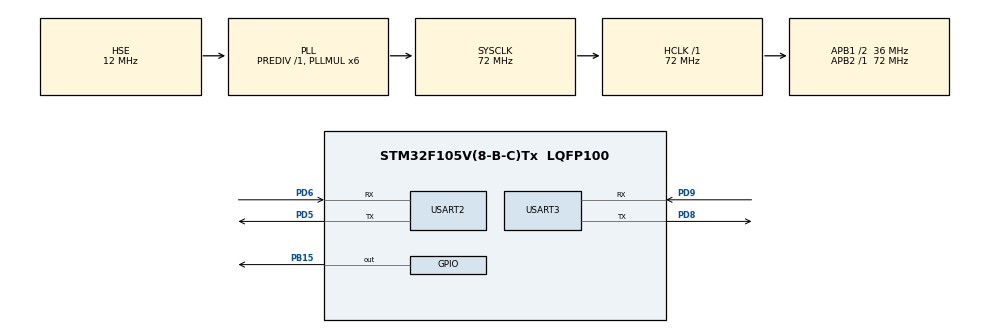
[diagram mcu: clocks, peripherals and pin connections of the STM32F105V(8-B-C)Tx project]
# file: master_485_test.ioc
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Mcu.Family=STM32F1
Mcu.Name=STM32F105V(8-B-C)Tx
Mcu.Package=LQFP100
NVIC.PriorityGroup=NVIC_PRIORITYGROUP_4
NVIC.USART2_IRQn=true\:0\:0\:false\:false\:true\:true
NVIC.USART3_IRQn=true\:0\:0\:false\:false\:true\:true
OSC_IN.Mode=HSE-External-Oscillator
OSC_IN.Signal=RCC_OSC_IN
OSC_OUT.Mode=HSE-External-Oscillator
OSC_OUT.Signal=RCC_OSC_OUT
PA13.Mode=Serial_Wire
PA13.Signal=SYS_JTMS-SWDIO
PA14.Mode=Serial_Wire
PA14.Signal=SYS_JTCK-SWCLK
PB15.Signal=GPIO_Output
PC14-OSC32_IN.Mode=LSE-External-Oscillator
PC14-OSC32_IN.Signal=RCC_OSC32_IN
PC15-OSC32_OUT.Mode=LSE-External-Oscillator
PC15-OSC32_OUT.Signal=RCC_OSC32_OUT
PD5.Mode=Asynchronous
PD5.Signal=USART2_TX
PD6.Mode=Asynchronous
PD6.Signal=USART2_RX
PD8.Mode=Asynchronous
PD8.Signal=USART3_TX
PD9.Mode=Asynchronous
PD9.Signal=USART3_RX
ProjectManager.HeapSize=0x200
ProjectManager.StackSize=0x400
ProjectManager.TargetToolchain=MDK-ARM V5
RCC.AHBFreq_Value=72000000
RCC.APB1CLKDivider=RCC_HCLK_DIV2
RCC.APB1Freq_Value=36000000
RCC.APB1TimFreq_Value=72000000
RCC.APB2Freq_Value=72000000
RCC.APB2TimFreq_Value=72000000
RCC.HCLKFreq_Value=72000000
RCC.HSE_VALUE=12000000
RCC.PLLMUL=RCC_PLL_MUL6
RCC.PLLSourceVirtual=RCC_PLLSOURCE_HSE
RCC.SYSCLKFreq_VALUE=72000000
RCC.SYSCLKSource=RCC_SYSCLKSOURCE_PLLCLK
RCC.USBFreq_Value=48000000
USART2.VirtualMode=VM_ASYNC
USART3.VirtualMode=VM_ASYNC
board=custom

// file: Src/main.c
/**
  ******************************************************************************
  * @file           : main.c
  * @brief          : Main program body
  ******************************************************************************
  ** This notice applies to any and all portions of this file
  * that are not between comment pairs USER CODE BEGIN and
  * USER CODE END. Other portions of this file, whether
  * inserted by the user or by software development tools
  * are owned by their respective copyright owners.
  *
  * COPYRIGHT(c) 2019 STMicroelectronics
  *
  * Redistribution and use in source and binary forms, with or without modification,
  * are permitted provided that the following conditions are met:
  *   1. Redistributions of source code must retain the above copyright notice,
  *      this list of conditions and the following disclaimer.
  *   2. Redistributions in binary form must reproduce the above copyright notice,
  *      this list of conditions and the following disclaimer in the documentation
  *      and/or other materials provided with the distribution.
  *   3. Neither the name of STMicroelectronics nor the names of its contributors
  *      may be used to endorse or promote products derived from this software
  *      without specific prior written permission.
  *
  * THIS SOFTWARE IS PROVIDED BY THE COPYRIGHT HOLDERS AND CONTRIBUTORS "AS IS"
  * AND ANY EXPRESS OR IMPLIED WARRANTIES, INCLUDING, BUT NOT LIMITED TO, THE
  * IMPLIED WARRANTIES OF MERCHANTABILITY AND FITNESS FOR A PARTICULAR PURPOSE ARE
  * DISCLAIMED. IN NO EVENT SHALL THE COPYRIGHT HOLDER OR CONTRIBUTORS BE LIABLE
  * FOR ANY DIRECT, INDIRECT, INCIDENTAL, SPECIAL, EXEMPLARY, OR CONSEQUENTIAL
  * DAMAGES (INCLUDING, BUT NOT LIMITED TO, PROCUREMENT OF SUBSTITUTE GOODS OR
  * SERVICES; LOSS OF USE, DATA, OR PROFITS; OR BUSINESS INTERRUPTION) HOWEVER
  * CAUSED AND ON ANY THEORY OF LIABILITY, WHETHER IN CONTRACT, STRICT LIABILITY,
  * OR TORT (INCLUDING NEGLIGENCE OR OTHERWISE) ARISING IN ANY WAY OUT OF THE USE
  * OF THIS SOFTWARE, EVEN IF ADVISED OF THE POSSIBILITY OF SUCH DAMAGE.
  *
  ******************************************************************************
  */
#include "main.h"
#include "stm32f1xx_hal.h"
#include "usart.h"
#include "gpio.h"

/* USER CODE BEGIN PV */
/* Private variables ---------------------------------------------------------*/

/* USER CODE END PV */

void SystemClock_Config(void);

/* USER CODE BEGIN PFP */
/* Private function prototypes -----------------------------------------------*/

/* USER CODE END PFP */

int main(void)
{
  /* USER CODE BEGIN 1 */
	uint8_t len = 0;
	uint8_t i = 0;
	uint32_t tick = 0;
  /* USER CODE END 1 */

  /* MCU Configuration----------------------------------------------------------*/

  /* Reset of all peripherals, Initializes the Flash interface and the Systick. */
  HAL_Init();

  /* Configure the system clock */
  SystemClock_Config();

  /* Initialize all configured peripherals */
  MX_GPIO_Init();
  MX_USART3_UART_Init();
  MX_USART2_UART_Init();
  /* USER CODE BEGIN 2 */

//	printf("Hello\r\n");
	HAL_GPIO_WritePin(GPIOB, GPIO_PIN_15, GPIO_PIN_SET);
	HAL_Delay(50);
	len = 10;
	for(i = 0;i<len;i++)
	{
		printf(" %d",USART_RX_BUF[i]);
	}

	HAL_UART_Transmit(&huart3,(uint8_t*)USART_RX_BUF,len,100);   //发送接收到的数据

	while(__HAL_UART_GET_FLAG(&huart3, UART_FLAG_TC)!=SET);      //等待发送结束
	USART_RX_STA = 0;

	tick = HAL_GetTick();
  /* USER CODE END 2 */

  /* Infinite loop */
  while (1)
  {

  /* USER CODE BEGIN 3 */

		HAL_GPIO_WritePin(GPIOB, GPIO_PIN_15, GPIO_PIN_RESET);
		HAL_Delay(10);

		if(USART_RX_STA&0x8000)
		{
			tick = HAL_GetTick();
			len=USART_RX_STA&0x3fff;            //得到此次接收到的数据长度

			HAL_GPIO_WritePin(GPIOB, GPIO_PIN_15, GPIO_PIN_SET);
		  HAL_Delay(10);
			printf("Recv Data:");

			for(i = 0;i<len;i++)
			{
				printf(" %d",USART_RX_BUF[i]);
			}
			printf("\r\n");

			HAL_UART_Transmit(&huart3,(uint8_t*)USART_RX_BUF,len,100);   //发送接收到的数据

			while(__HAL_UART_GET_FLAG(&huart3, UART_FLAG_TC)!=SET);      //等待发送结束
			USART_RX_STA = 0;
		}
		else if( (HAL_GetTick()-tick)>10000)
		{
			len=4;            //得到此次接收到的数据长度
			tick = HAL_GetTick();
			for(i = 0;i<len;i++)
			{
				USART_RX_BUF[i] = i;
			}

			HAL_GPIO_WritePin(GPIOB, GPIO_PIN_15, GPIO_PIN_SET);
		  HAL_Delay(5);

			HAL_UART_Transmit(&huart3,(uint8_t*)USART_RX_BUF,len,100);   //发送接收到的数据
			while(__HAL_UART_GET_FLAG(&huart3, UART_FLAG_TC)!=SET);      //等待发送结束

			USART_RX_STA = 0;

		}

		// 插拔之后可能会出现LBD、ORE标志位置位，需要及时检测，进行复位。
		// 在ORE标志位置位之后，由于缓冲区溢出，RXNE标志位也会跟着置位，所以也要及时清空，开不开中断无所谓。
		// 在串口初始化时打开了ERR中断，遇到ORE标志位置位会进入ErrCallBack函数，为什么不在中断函数里进行置位呢，
		// 因为可能在接收数据的函数里把Err中断给关掉了，所以只能在主函数里进行清空。
		if(__HAL_UART_GET_FLAG(&huart3,UART_FLAG_LBD)==SET)
		{
			__HAL_UART_CLEAR_FLAG(&huart3,UART_FLAG_LBD);
		}
//		if(__HAL_UART_GET_FLAG(&huart3,UART_FLAG_RXNE)==SET)
//		{
//
//		}
		if(__HAL_UART_GET_FLAG(&huart3,UART_FLAG_ORE) != RESET)
    {
			 //HAL_UART_Receive_IT(huart,(uint8_t *)&i,1);
			__HAL_UART_CLEAR_FLAG(&huart3,UART_FLAG_RXNE);
       __HAL_UART_CLEAR_OREFLAG(&huart3);
       HAL_UART_Receive_IT(&huart3,(uint8_t *)&aRxBuffer,1);
    }

  }
  /* USER CODE END 3 */

}

void SystemClock_Config(void)
{

  RCC_OscInitTypeDef RCC_OscInitStruct;
  RCC_ClkInitTypeDef RCC_ClkInitStruct;

    /**Initializes the CPU, AHB and APB busses clocks
    */
  RCC_OscInitStruct.OscillatorType = RCC_OSCILLATORTYPE_HSE;
  RCC_OscInitStruct.HSEState = RCC_HSE_ON;
  RCC_OscInitStruct.HSEPredivValue = RCC_HSE_PREDIV_DIV1;
  RCC_OscInitStruct.HSIState = RCC_HSI_ON;
  RCC_OscInitStruct.Prediv1Source = RCC_PREDIV1_SOURCE_HSE;
  RCC_OscInitStruct.PLL.PLLState = RCC_PLL_ON;
  RCC_OscInitStruct.PLL.PLLSource = RCC_PLLSOURCE_HSE;
  RCC_OscInitStruct.PLL.PLLMUL = RCC_PLL_MUL6;
  RCC_OscInitStruct.PLL2.PLL2State = RCC_PLL_NONE;
  if (HAL_RCC_OscConfig(&RCC_OscInitStruct) != HAL_OK)
  {
    _Error_Handler(__FILE__, __LINE__);
  }

    /**Initializes the CPU, AHB and APB busses clocks
    */
  RCC_ClkInitStruct.ClockType = RCC_CLOCKTYPE_HCLK|RCC_CLOCKTYPE_SYSCLK
                              |RCC_CLOCKTYPE_PCLK1|RCC_CLOCKTYPE_PCLK2;
  RCC_ClkInitStruct.SYSCLKSource = RCC_SYSCLKSOURCE_PLLCLK;
  RCC_ClkInitStruct.AHBCLKDivider = RCC_SYSCLK_DIV1;
  RCC_ClkInitStruct.APB1CLKDivider = RCC_HCLK_DIV2;
  RCC_ClkInitStruct.APB2CLKDivider = RCC_HCLK_DIV1;

  if (HAL_RCC_ClockConfig(&RCC_ClkInitStruct, FLASH_LATENCY_2) != HAL_OK)
  {
    _Error_Handler(__FILE__, __LINE__);
  }

    /**Configure the Systick interrupt time
    */
  HAL_SYSTICK_Config(HAL_RCC_GetHCLKFreq()/1000);

    /**Configure the Systick
    */
  HAL_SYSTICK_CLKSourceConfig(SYSTICK_CLKSOURCE_HCLK);

    /**Configure the Systick interrupt time
    */
  __HAL_RCC_PLLI2S_ENABLE();

  /* SysTick_IRQn interrupt configuration */
  HAL_NVIC_SetPriority(SysTick_IRQn, 0, 0);
}

void _Error_Handler(char *file, int line)
{
  while(1)
  {
  }
}

/************************ (C) COPYRIGHT STMicroelectronics *****END OF FILE****/
